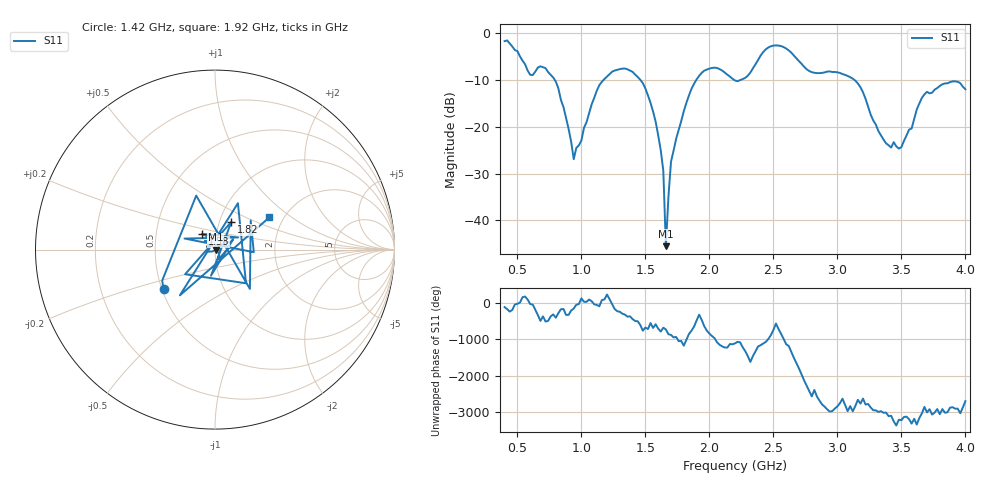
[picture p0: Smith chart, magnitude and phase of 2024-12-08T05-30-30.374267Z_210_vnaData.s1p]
!Created with skrf (http://scikit-rf.org).
# Hz S RI R 50.0
!freq ReS11 ImS11
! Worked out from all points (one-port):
!   181 points, 400 MHz to 4 GHz, reference 50 ohm
!   lowest |S11| = -45.5 dB at 1.66 GHz (marker M1), VSWR 1.01, Z = 50.5 - j0.12 ohm
!   |S11| at or under -10 dB: 792.5 MHz to 1.172 GHz (379.9 MHz wide, 38.7 % of centre); 1.462 GHz to 1.897 GHz (435.1 MHz wide, 25.9 % of centre); 3.134 GHz to end of sweep (the widest 3 of 4)
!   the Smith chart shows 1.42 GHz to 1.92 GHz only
!   S11 on the Smith chart (normalised r, x): 1.42 GHz: 0.51, -0.26; 1.58 GHz: 0.85, +0.15; 1.82 GHz: 1.14, +0.37; 1.92 GHz: 1.69, +0.69
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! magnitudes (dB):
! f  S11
! 400 MHz  -1.7
! 600 MHz  -8.9
! 720 MHz  -7.5
! 860 MHz  -15.8
! 940 MHz  -26.9
! 1.14 GHz  -11.1
! 1.3 GHz  -7.7
! 1.42 GHz  -8.8
! 1.5 GHz  -11.8
! 1.58 GHz  -18.9
! 1.64 GHz  -29.4
! 1.66 GHz  -45.5
! 1.7 GHz  -27.5
! 1.76 GHz  -20.7
! 1.82 GHz  -14.9
! 1.92 GHz  -9.1
! 2.06 GHz  -7.4
! 2.2 GHz  -10.1
! 2.48 GHz  -2.8
! 2.66 GHz  -4.8
! 2.8 GHz  -8.3
! 3.1 GHz  -9.4
! 3.18 GHz  -11.5
! 3.38 GHz  -23.5
! 3.5 GHz  -24.3
! 3.56 GHz  -20.6
! 3.7 GHz  -12.5
! 4 GHz  -12.0
